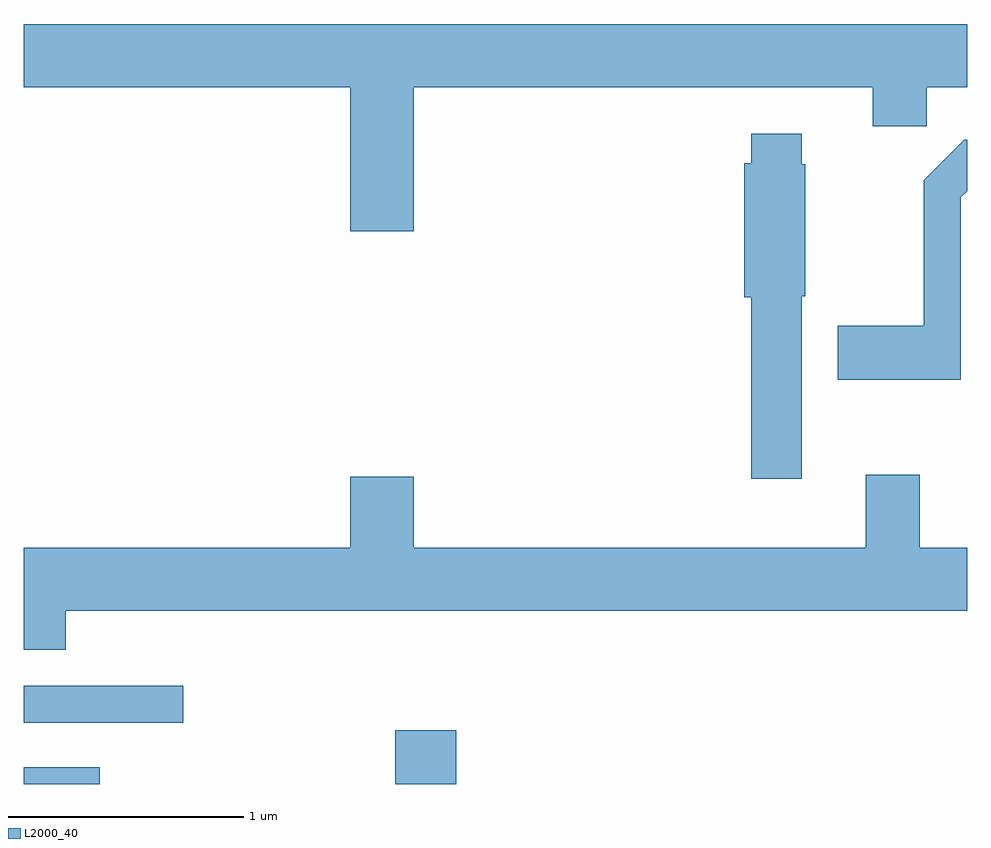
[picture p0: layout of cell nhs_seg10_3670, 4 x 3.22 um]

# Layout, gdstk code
import gdstk
lib = gdstk.Library(unit=1e-6, precision=1e-09)
def R(c, l, rs):  # rectangles x0, y0, x1, y1
    for r in rs: c.add(gdstk.rectangle(r[:2], r[2:], *l))
def P(c, l, *ps):  # polygons
    for p in ps: c.add(gdstk.Polygon(p, *l))
L2000_40 = (2000, 40)

nhs_seg10_3670 = lib.new_cell('nhs_seg10_3670')
R(nhs_seg10_3670, L2000_40, [(293.611,2106.522,293.934,2106.594), (295.186,2106.522,295.444,2106.749), (293.611,2106.781,294.288,2106.939)])
P(nhs_seg10_3670, L2000_40, [(295.264,2109.476),(297.211,2109.476),(297.211,2109.311),(297.439,2109.311),(297.439,2109.476),(297.611,2109.476),(297.611,2109.744),(293.611,2109.744),(293.611,2109.476),(294.996,2109.476),(294.996,2108.866),(295.264,2108.866)],
  [(296.909,2108.59),(296.924,2108.59),(296.924,2109.15),(296.909,2109.15),(296.909,2109.279),(296.696,2109.279),(296.696,2109.154),(296.666,2109.154),(296.666,2108.586),(296.696,2108.586),(296.696,2107.816),(296.909,2107.816)],
  [(297.584,2109.009),(297.611,2109.036),(297.611,2109.254),(297.599,2109.254),(297.426,2109.082),(297.426,2108.464),(297.061,2108.464),(297.061,2108.236),(297.584,2108.236)],
  [(293.789,2107.256),(297.611,2107.256),(297.611,2107.524),(297.409,2107.524),(297.409,2107.834),(297.181,2107.834),(297.181,2107.524),(295.264,2107.524),(295.264,2107.824),(294.996,2107.824),(294.996,2107.524),(293.611,2107.524),(293.611,2107.091),(293.789,2107.091)])

lib.write_gds('nhs_seg10_3670.gds')
